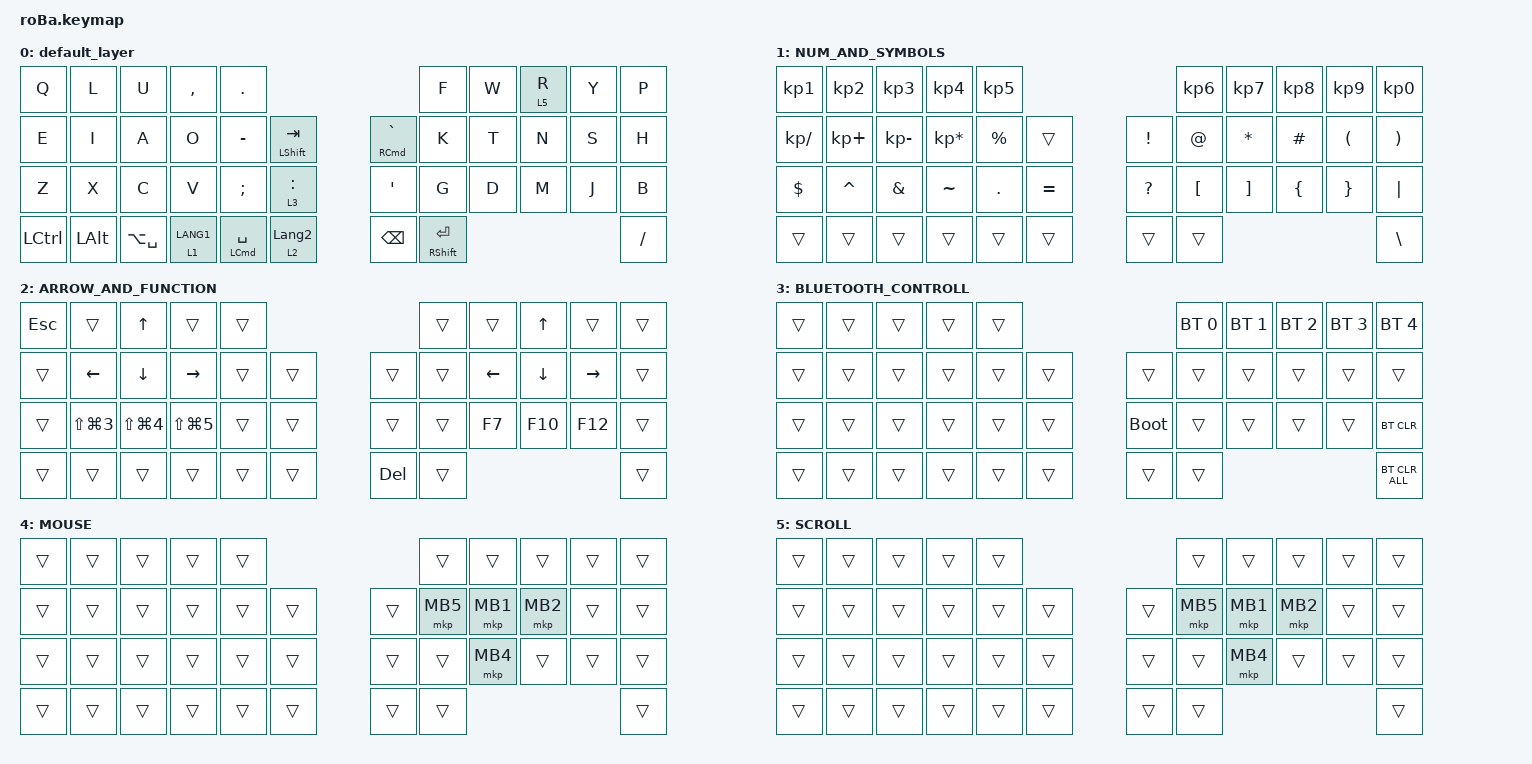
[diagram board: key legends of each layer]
#include <behaviors.dtsi>
#include <dt-bindings/zmk/bt.h>
#include <dt-bindings/zmk/keys.h>
#include <dt-bindings/zmk/pointing.h>

&mt {
    flavor = "balanced";
    quick-tap-ms = <0>;
    tapping-term-ms = <150>;
};

&trackball {
    automouse-layer = <4>;
    scroll-layers = <5>;

    // arrows {
    //     layers = <3>;
    //     bindings =
    //         <&kp RIGHT_ARROW>,
    //         <&kp LEFT_ARROW>,
    //         <&kp UP_ARROW>,
    //         <&kp DOWN_ARROW>;
    //     tick = <10>;
    //     wait-ms = <5>;
    //     tap-ms = <5>;
    // };
};

/ {
    combos {
        compatible = "zmk,combos";

        double_quotation {
            bindings = <&kp DOUBLE_QUOTES>;
            key-positions = <28 29>;
        };

        eq {
            bindings = <&kp EQUAL>;
            key-positions = <24 25>;
        };

        shift_tab {
            bindings = <&kp LS(TAB)>;
            key-positions = <15 14>;
        };
    };

    macros {
        to_layer_0: to_layer_0 {
            compatible = "zmk,behavior-macro-one-param";
            #binding-cells = <1>;
            bindings = <&to 0 &macro_param_1to1 &kp MACRO_PLACEHOLDER>;
            label = "TO_LAYER_0";
        };
    };

    behaviors {
        lt_to_layer_0: lt_to_layer_0 {
            compatible = "zmk,behavior-hold-tap";
            label = "LAYER_TAP_TO_0";
            bindings = <&mo>, <&to_layer_0>;

            #binding-cells = <2>;
            tapping-term-ms = <150>;
        };

        mt_to_layer_0: mt_to_layer_0 {
            compatible = "zmk,behavior-hold-tap";
            label = "LAYER_TAP_TO_0_MT";
            bindings = <&kp>, <&to_layer_0>;

            #binding-cells = <2>;
            tapping-term-ms = <150>;
        };
    };

    keymap {
        compatible = "zmk,keymap";

        default_layer {
            bindings = <
&kp Q      &kp L         &kp U          &kp COMMA               &kp PERIOD                                                                        &kp F                   &kp W  &lt 5 R  &kp Y  &kp P
&kp E      &kp I         &kp A          &kp O                   &kp MINUS               &mt LEFT_SHIFT TAB               &mt RIGHT_COMMAND GRAVE  &kp K                   &kp T  &kp N    &kp S  &kp H
&kp Z      &kp X         &kp C          &kp V                   &kp SEMICOLON           &lt 3 COLON                      &kp SQT                  &kp G                   &kp D  &kp M    &kp J  &kp B
&kp LCTRL  &kp LEFT_ALT  &kp LA(SPACE)  &lt_to_layer_0 1 LANG1  &mt LEFT_COMMAND SPACE  &lt_to_layer_0 2 LANGUAGE_2      &kp BACKSPACE            &mt RIGHT_SHIFT RETURN                         &kp SLASH
            >;
        };

        NUM_AND_SYMBOLS {
            bindings = <
&kp KP_NUMBER_1  &kp KP_NUMBER_2  &kp KP_NUMBER_3  &kp KP_NUMBER_4  &kp KP_NUMBER_5                                  &kp KP_NUMBER_6   &kp KP_NUMBER_7    &kp KP_NUMBER_8  &kp KP_NUMBER_9       &kp KP_NUMBER_0
&kp KP_DIVIDE    &kp KP_PLUS      &kp KP_MINUS     &kp KP_ASTERISK  &kp PERCENT      &trans         &kp EXCLAMATION  &kp AT_SIGN       &kp ASTERISK       &kp HASH         &kp LEFT_PARENTHESIS  &kp RIGHT_PARENTHESIS
&kp DOLLAR       &kp CARET        &kp AMPERSAND    &kp TILDE        &kp PERIOD       &kp EQUAL      &kp QUESTION     &kp LEFT_BRACKET  &kp RIGHT_BRACKET  &kp LEFT_BRACE   &kp RIGHT_BRACE       &kp PIPE
&trans           &trans           &trans           &trans           &trans           &trans         &trans           &trans                                                                      &kp BACKSLASH
            >;
        };

        ARROW_AND_FUNCTION {
            bindings = <
&kp ESCAPE  &trans                &kp UP_ARROW          &trans           &trans                          &trans  &trans    &kp UP_ARROW  &trans     &trans
&trans      &kp LEFT_ARROW        &kp DOWN_ARROW        &kp RIGHT_ARROW  &trans  &trans      &trans      &trans  &kp LEFT  &kp DOWN      &kp RIGHT  &trans
&trans      &kp LS(LG(NUMBER_3))  &kp LS(LG(NUMBER_4))  &kp LS(LG(N5))   &trans  &trans      &trans      &trans  &kp F7    &kp F10       &kp F12    &trans
&trans      &trans                &trans                &trans           &trans  &trans      &kp DELETE  &trans                                     &trans
            >;
        };

        BLUETOOTH_CONTROLL {
            bindings = <
&trans  &trans  &trans  &trans  &trans                           &bt BT_SEL 0  &bt BT_SEL 1  &bt BT_SEL 2  &bt BT_SEL 3  &bt BT_SEL 4
&trans  &trans  &trans  &trans  &trans  &trans      &trans       &trans        &trans        &trans        &trans        &trans
&trans  &trans  &trans  &trans  &trans  &trans      &bootloader  &trans        &trans        &trans        &trans        &bt BT_CLR
&trans  &trans  &trans  &trans  &trans  &trans      &trans       &trans                                                  &bt BT_CLR_ALL
            >;
        };

        MOUSE {
            bindings = <
&trans  &trans  &trans  &trans  &trans                      &trans    &trans    &trans    &trans  &trans
&trans  &trans  &trans  &trans  &trans  &trans      &trans  &mkp MB5  &mkp MB1  &mkp MB2  &trans  &trans
&trans  &trans  &trans  &trans  &trans  &trans      &trans  &trans    &mkp MB4  &trans    &trans  &trans
&trans  &trans  &trans  &trans  &trans  &trans      &trans  &trans                                &trans
            >;
        };

        SCROLL {
            bindings = <
&trans  &trans  &trans  &trans  &trans                      &trans    &trans    &trans    &trans  &trans
&trans  &trans  &trans  &trans  &trans  &trans      &trans  &mkp MB5  &mkp MB1  &mkp MB2  &trans  &trans
&trans  &trans  &trans  &trans  &trans  &trans      &trans  &trans    &mkp MB4  &trans    &trans  &trans
&trans  &trans  &trans  &trans  &trans  &trans      &trans  &trans                                &trans
            >;
        };
    };
};
